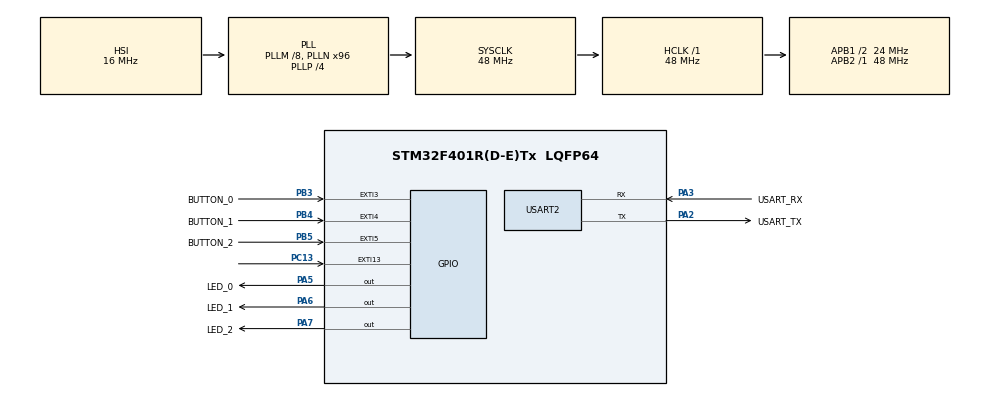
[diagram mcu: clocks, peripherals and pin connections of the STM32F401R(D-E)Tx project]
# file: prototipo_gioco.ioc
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FREERTOS.Tasks01=GameTask,0,128,StartGameTask,Default,NULL,Dynamic,NULL,NULL
FREERTOS.Timers01=TimeoutTimer,TimeoutCallback,osTimerOnce,Default,NULL,Dynamic,NULL;myTimer02,Callback02,osTimerPeriodic,Default,NULL,Dynamic,NULL
FREERTOS.configUSE_NEWLIB_REENTRANT=1
FREERTOS.configUSE_TIMERS=1
Mcu.Family=STM32F4
Mcu.Name=STM32F401R(D-E)Tx
Mcu.Package=LQFP64
NVIC.EXTI15_10_IRQn=true\:5\:0\:false\:false\:true\:true\:true\:true\:true
NVIC.EXTI3_IRQn=true\:0\:0\:false\:false\:true\:false\:true\:true\:true
NVIC.EXTI4_IRQn=true\:0\:0\:false\:false\:true\:false\:true\:true\:true
NVIC.EXTI9_5_IRQn=true\:0\:0\:false\:false\:true\:false\:true\:true\:true
NVIC.PriorityGroup=NVIC_PRIORITYGROUP_4
NVIC.TIM1_UP_TIM10_IRQn=true\:15\:0\:false\:false\:true\:false\:false\:true\:true
NVIC.TIM2_IRQn=true\:5\:0\:false\:false\:true\:true\:true\:true\:true
NVIC.TimeBase=TIM1_UP_TIM10_IRQn
NVIC.TimeBaseIP=TIM1
PA13.Mode=Serial_Wire
PA13.Signal=SYS_JTMS-SWDIO
PA14.GPIO_Label=TCK
PA14.Mode=Serial_Wire
PA14.Signal=SYS_JTCK-SWCLK
PA2.GPIO_Label=USART_TX
PA2.GPIO_Mode=GPIO_MODE_AF_PP
PA2.GPIO_PuPd=GPIO_NOPULL
PA2.GPIO_Speed=GPIO_SPEED_FREQ_LOW
PA2.Mode=Asynchronous
PA2.Signal=USART2_TX
PA3.GPIO_Label=USART_RX
PA3.GPIO_Mode=GPIO_MODE_AF_PP
PA3.GPIO_PuPd=GPIO_NOPULL
PA3.GPIO_Speed=GPIO_SPEED_FREQ_LOW
PA3.Mode=Asynchronous
PA3.Signal=USART2_RX
PA5.GPIO_Label=LED_0
PA5.GPIO_Mode=GPIO_MODE_OUTPUT_PP
PA5.GPIO_PuPd=GPIO_NOPULL
PA5.GPIO_Speed=GPIO_SPEED_FREQ_LOW
PA5.Signal=GPIO_Output
PA6.GPIO_Label=LED_1
PA6.Signal=GPIO_Output
PA7.GPIO_Label=LED_2
PA7.Signal=GPIO_Output
PB3.GPIO_Label=BUTTON_0
PB3.GPIO_ModeDefaultEXTI=GPIO_MODE_IT_FALLING
PB3.GPIO_PuPd=GPIO_PULLUP
PB3.Signal=GPXTI3
PB4.GPIO_Label=BUTTON_1
PB4.GPIO_ModeDefaultEXTI=GPIO_MODE_IT_FALLING
PB4.GPIO_PuPd=GPIO_PULLUP
PB4.Signal=GPXTI4
PB5.GPIO_Label=BUTTON_2
PB5.GPIO_ModeDefaultEXTI=GPIO_MODE_IT_FALLING
PB5.GPIO_PuPd=GPIO_PULLUP
PB5.Signal=GPXTI5
PC13-ANTI_TAMP.GPIO_ModeDefaultEXTI=GPIO_MODE_IT_FALLING
PC13-ANTI_TAMP.Signal=GPXTI13
PC14-OSC32_IN.Mode=LSE-External-Oscillator
PC14-OSC32_IN.Signal=RCC_OSC32_IN
PC15-OSC32_OUT.Mode=LSE-External-Oscillator
PC15-OSC32_OUT.Signal=RCC_OSC32_OUT
PH0\ -\ OSC_IN.Mode=HSE-External-Clock-Source
PH0\ -\ OSC_IN.Signal=RCC_OSC_IN
PH1\ -\ OSC_OUT.Mode=HSE-External-Clock-Source
PH1\ -\ OSC_OUT.Signal=RCC_OSC_OUT
ProjectManager.HeapSize=0x200
ProjectManager.StackSize=0x400
ProjectManager.TargetToolchain=STM32CubeIDE
RCC.48MHZClocksFreq_Value=27428571.42857143
RCC.AHBFreq_Value=48000000
RCC.APB1CLKDivider=RCC_HCLK_DIV2
RCC.APB1Freq_Value=24000000
RCC.APB1TimFreq_Value=48000000
RCC.APB2Freq_Value=48000000
RCC.APB2TimFreq_Value=48000000
RCC.CortexFreq_Value=48000000
RCC.HCLKFreq_Value=48000000
RCC.HSE_VALUE=8000000
RCC.HSI_VALUE=16000000
RCC.PLLM=8
RCC.PLLN=96
RCC.PLLP=RCC_PLLP_DIV4
RCC.PLLQ=7
RCC.SYSCLKFreq_VALUE=48000000
RCC.SYSCLKSource=RCC_SYSCLKSOURCE_PLLCLK
RCC.VCOOutputFreq_Value=192000000
TIM2.AutoReloadPreload=TIM_AUTORELOAD_PRELOAD_ENABLE
TIM2.Period=999
TIM2.Prescaler=47999
USART2.VirtualMode=VM_ASYNC
VP_FREERTOS_VS_CMSIS_V1.Mode=CMSIS_V1
VP_SYS_VS_tim1.Mode=TIM1
VP_TIM2_VS_ClockSourceINT.Mode=Internal
board=NUCLEO-F401RE

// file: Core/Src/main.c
/* USER CODE BEGIN Header */
/**
  ******************************************************************************
  * @file           : main.c
  * @brief          : Main program body
  ******************************************************************************
  */
/* USER CODE END Header */
#include "main.h"
#include "cmsis_os.h"

/* USER CODE BEGIN Includes */
#include "game.h"
#include "constants.h"
/* USER CODE END Includes */

TIM_HandleTypeDef htim2;

UART_HandleTypeDef huart2;

osThreadId GameTaskHandle;
osTimerId TimeoutTimerHandle;
osTimerId myTimer02Handle;
/* USER CODE BEGIN PV */
volatile uint8_t buttonPressed = 0; // 0 se non premuto, 1 se premuto
volatile uint8_t timeoutOccurred = 0;
uint32_t startTime = 0;
uint32_t reactionTime = 0;

//int timer_value = 0; // valuta tempo di risposta

/* USER CODE END PV */

void SystemClock_Config(void);
static void MX_GPIO_Init(void);
static void MX_TIM2_Init(void);
static void MX_USART2_UART_Init(void);
void StartGameTask(void const * argument);
void TimeoutCallback(void const * argument);
void Callback02(void const * argument);

/* USER CODE BEGIN PFP */
#ifdef __GNUC__
  #define PUTCHAR_PROTOTYPE int __io_putchar(int ch)
#else
  #define PUTCHAR_PROTOTYPE int fputc(int ch, FILE *f)
#endif

PUTCHAR_PROTOTYPE
{
  HAL_UART_Transmit(&huart2, (uint8_t *)&ch, 1, 0xFFFF);
  return ch;
}
/* USER CODE END PFP */

int main(void)
{

  /* MCU Configuration--------------------------------------------------------*/

  /* Reset of all peripherals, Initializes the Flash interface and the Systick. */
  HAL_Init();

  /* Configure the system clock */
  SystemClock_Config();

  /* Initialize all configured peripherals */
  MX_GPIO_Init();
  MX_TIM2_Init();
  MX_USART2_UART_Init();
  /* USER CODE BEGIN 2 */
  // Leggiamo un valore a caso dalla memoria per inizializzare il random

  printf("\r\n=== RHYTHM GAME PROTOTYPE ===\r\n");
  //createDummySong();
  /* USER CODE END 2 */

  /* Create the timer(s) */
  /* definition and creation of TimeoutTimer */
  osTimerDef(TimeoutTimer, TimeoutCallback);
  TimeoutTimerHandle = osTimerCreate(osTimer(TimeoutTimer), osTimerOnce, NULL);

  /* definition and creation of myTimer02 */
  osTimerDef(myTimer02, Callback02);
  myTimer02Handle = osTimerCreate(osTimer(myTimer02), osTimerPeriodic, NULL);

  /* Create the thread(s) */
  /* definition and creation of GameTask */
  osThreadDef(GameTask, StartGameTask, osPriorityNormal, 0, 128);
  GameTaskHandle = osThreadCreate(osThread(GameTask), NULL);

  /* Start scheduler */
  osKernelStart();

  /* We should never get here as control is now taken by the scheduler */

  /* Infinite loop */
  while (1)
  {

  }
}

void SystemClock_Config(void)
{
  RCC_OscInitTypeDef RCC_OscInitStruct = {0};
  RCC_ClkInitTypeDef RCC_ClkInitStruct = {0};

  /** Configure the main internal regulator output voltage
  */
  __HAL_RCC_PWR_CLK_ENABLE();
  __HAL_PWR_VOLTAGESCALING_CONFIG(PWR_REGULATOR_VOLTAGE_SCALE2);

  /** Initializes the RCC Oscillators according to the specified parameters
  * in the RCC_OscInitTypeDef structure.
  */
  RCC_OscInitStruct.OscillatorType = RCC_OSCILLATORTYPE_HSI;
  RCC_OscInitStruct.HSIState = RCC_HSI_ON;
  RCC_OscInitStruct.HSICalibrationValue = RCC_HSICALIBRATION_DEFAULT;
  RCC_OscInitStruct.PLL.PLLState = RCC_PLL_ON;
  RCC_OscInitStruct.PLL.PLLSource = RCC_PLLSOURCE_HSI;
  RCC_OscInitStruct.PLL.PLLM = 8;
  RCC_OscInitStruct.PLL.PLLN = 96;
  RCC_OscInitStruct.PLL.PLLP = RCC_PLLP_DIV4;
  RCC_OscInitStruct.PLL.PLLQ = 7;
  if (HAL_RCC_OscConfig(&RCC_OscInitStruct) != HAL_OK)
  {
    Error_Handler();
  }

  /** Initializes the CPU, AHB and APB buses clocks
  */
  RCC_ClkInitStruct.ClockType = RCC_CLOCKTYPE_HCLK|RCC_CLOCKTYPE_SYSCLK
                              |RCC_CLOCKTYPE_PCLK1|RCC_CLOCKTYPE_PCLK2;
  RCC_ClkInitStruct.SYSCLKSource = RCC_SYSCLKSOURCE_PLLCLK;
  RCC_ClkInitStruct.AHBCLKDivider = RCC_SYSCLK_DIV1;
  RCC_ClkInitStruct.APB1CLKDivider = RCC_HCLK_DIV2;
  RCC_ClkInitStruct.APB2CLKDivider = RCC_HCLK_DIV1;

  if (HAL_RCC_ClockConfig(&RCC_ClkInitStruct, FLASH_LATENCY_1) != HAL_OK)
  {
    Error_Handler();
  }
}

static void MX_TIM2_Init(void)
{

  TIM_ClockConfigTypeDef sClockSourceConfig = {0};
  TIM_MasterConfigTypeDef sMasterConfig = {0};

  htim2.Instance = TIM2;
  htim2.Init.Prescaler = 47999;
  htim2.Init.CounterMode = TIM_COUNTERMODE_UP;
  htim2.Init.Period = 999;
  htim2.Init.ClockDivision = TIM_CLOCKDIVISION_DIV1;
  htim2.Init.AutoReloadPreload = TIM_AUTORELOAD_PRELOAD_ENABLE;
  if (HAL_TIM_Base_Init(&htim2) != HAL_OK)
  {
    Error_Handler();
  }
  sClockSourceConfig.ClockSource = TIM_CLOCKSOURCE_INTERNAL;
  if (HAL_TIM_ConfigClockSource(&htim2, &sClockSourceConfig) != HAL_OK)
  {
    Error_Handler();
  }
  sMasterConfig.MasterOutputTrigger = TIM_TRGO_RESET;
  sMasterConfig.MasterSlaveMode = TIM_MASTERSLAVEMODE_DISABLE;
  if (HAL_TIMEx_MasterConfigSynchronization(&htim2, &sMasterConfig) != HAL_OK)
  {
    Error_Handler();
  }

}

static void MX_USART2_UART_Init(void)
{

  huart2.Instance = USART2;
  huart2.Init.BaudRate = 115200;
  huart2.Init.WordLength = UART_WORDLENGTH_8B;
  huart2.Init.StopBits = UART_STOPBITS_1;
  huart2.Init.Parity = UART_PARITY_NONE;
  huart2.Init.Mode = UART_MODE_TX_RX;
  huart2.Init.HwFlowCtl = UART_HWCONTROL_NONE;
  huart2.Init.OverSampling = UART_OVERSAMPLING_16;
  if (HAL_UART_Init(&huart2) != HAL_OK)
  {
    Error_Handler();
  }

}

static void MX_GPIO_Init(void)
{
  GPIO_InitTypeDef GPIO_InitStruct = {0};

  /* GPIO Ports Clock Enable */
  __HAL_RCC_GPIOC_CLK_ENABLE();
  __HAL_RCC_GPIOH_CLK_ENABLE();
  __HAL_RCC_GPIOA_CLK_ENABLE();
  __HAL_RCC_GPIOB_CLK_ENABLE();

  /*Configure GPIO pin Output Level */
  HAL_GPIO_WritePin(GPIOA, LED_0_Pin|LED_1_Pin|LED_2_Pin, GPIO_PIN_RESET);

  /*Configure GPIO pin : PC13 */
  GPIO_InitStruct.Pin = GPIO_PIN_13;
  GPIO_InitStruct.Mode = GPIO_MODE_IT_FALLING;
  GPIO_InitStruct.Pull = GPIO_NOPULL;
  HAL_GPIO_Init(GPIOC, &GPIO_InitStruct);

  /*Configure GPIO pins : LED_0_Pin LED_1_Pin LED_2_Pin */
  GPIO_InitStruct.Pin = LED_0_Pin|LED_1_Pin|LED_2_Pin;
  GPIO_InitStruct.Mode = GPIO_MODE_OUTPUT_PP;
  GPIO_InitStruct.Pull = GPIO_NOPULL;
  GPIO_InitStruct.Speed = GPIO_SPEED_FREQ_LOW;
  HAL_GPIO_Init(GPIOA, &GPIO_InitStruct);

  /*Configure GPIO pins : BUTTON_0_Pin BUTTON_1_Pin BUTTON_2_Pin */
  GPIO_InitStruct.Pin = BUTTON_0_Pin|BUTTON_1_Pin|BUTTON_2_Pin;
  GPIO_InitStruct.Mode = GPIO_MODE_IT_FALLING;
  GPIO_InitStruct.Pull = GPIO_PULLUP;
  HAL_GPIO_Init(GPIOB, &GPIO_InitStruct);

  /* EXTI interrupt init*/
  HAL_NVIC_SetPriority(EXTI3_IRQn, 0, 0);
  HAL_NVIC_EnableIRQ(EXTI3_IRQn);

  HAL_NVIC_SetPriority(EXTI4_IRQn, 0, 0);
  HAL_NVIC_EnableIRQ(EXTI4_IRQn);

  HAL_NVIC_SetPriority(EXTI9_5_IRQn, 0, 0);
  HAL_NVIC_EnableIRQ(EXTI9_5_IRQn);

  HAL_NVIC_SetPriority(EXTI15_10_IRQn, 5, 0);
  HAL_NVIC_EnableIRQ(EXTI15_10_IRQn);

}

/* USER CODE BEGIN 4 */
void HAL_GPIO_EXTI_Callback(uint16_t GPIO_Pin) {
    // PC13 è il Pin 13
	if (GPIO_Pin == GPIO_PIN_13) {
	        reactionTime = osKernelSysTick() - startTime; //calcola il tempo di reazione
	        buttonPressed = 1; // to tell the game that i have pressed
	   }
}

/* Callback del Timer (Fine del tempo) */
/* USER CODE END 4 */

void StartGameTask(void const * argument)
{
  /* USER CODE BEGIN 5 */
  for(;;)
  {
      printf("\r\n=== RHYTHM GAME PROTOTYPE ===\r\n");
      printf("Press the button to start\r\n");

      buttonPressed = 0;

      // 1. Fase di attesa inizio
      while (buttonPressed == 0){
          osDelay(10); // Usa osDelay per non impallare FreeRTOS
      }

      buttonPressed = 0; // Resetta per il gioco
      printf("\r\nGame start! \r\n");

      // 2. Ciclo della Canzone
      for(int i = 0; i < SONGLENGHT; i++){
          printf("\r\nWAIT FOR THE LED...\r\n");

          // Pausa casuale
          osDelay((rand() % SECONDS) + SECONDS_OFFSET);

          // Prepariamo le variabili per questo round
          buttonPressed = 0;
          timeoutOccurred = 0;

          HAL_GPIO_WritePin(GPIOA, GPIO_PIN_5, GPIO_PIN_SET); // Accendi LED
          printf("PRESS THE BUTTON!\r\n");

          // Prendi il tempo esatto da FreeRTOS e fai partire la sveglia
          startTime = osKernelSysTick();
          osTimerStart(TimeoutTimerHandle, 2000); // 2000 ms di tempo massimo

          // 3. Aspetta che l'utente prema (button) O che scada il tempo (timeout)
          while(buttonPressed == 0 && timeoutOccurred == 0) {
              osDelay(1); // Aspetta attivamente
          }

          // 4. Valutazione
          if (buttonPressed == 1) {
              osTimerStop(TimeoutTimerHandle); // Ferma la sveglia!
              HAL_GPIO_WritePin(GPIOA, GPIO_PIN_5, GPIO_PIN_RESET); // Spegni LED
               scoreEvaluate(reactionTime); // De-commenta quando hai la funzione
              printf("Preso in: %lu ms\r\n", reactionTime);
          }
          else if (timeoutOccurred == 1) {
              HAL_GPIO_WritePin(GPIOA, GPIO_PIN_5, GPIO_PIN_RESET); // Spegni LED
               scoreEvaluate(MISSVALUE); // De-commenta quando hai la funzione
              printf("Mancato! Troppo lento.\r\n");
          }

          osDelay(SPACE_BETWEEN_NOTES); // Pausa prima della prossima nota
      }

      // 5. Fine Gioco
      // finalScore(); // De-commenta quando hai la funzione
      printf("\r\n------GAME OVER, THANKS FOR PLAYING!------\r\n");
      osDelay(3000); // Aspetta un po' prima di permettere di rigiocare
  }
  /* USER CODE END 5 */
}

/* TimeoutCallback function */
void TimeoutCallback(void const * argument)
{
  /* USER CODE BEGIN TimeoutCallback */
	timeoutOccurred = 1;
  /* USER CODE END TimeoutCallback */
}

/* Callback02 function */
void Callback02(void const * argument)
{
}

void HAL_TIM_PeriodElapsedCallback(TIM_HandleTypeDef *htim)
{
  if (htim->Instance == TIM1)
  {
    HAL_IncTick();
  }
}

void Error_Handler(void)
{
  __disable_irq();
  while (1)
  {
  }
}
